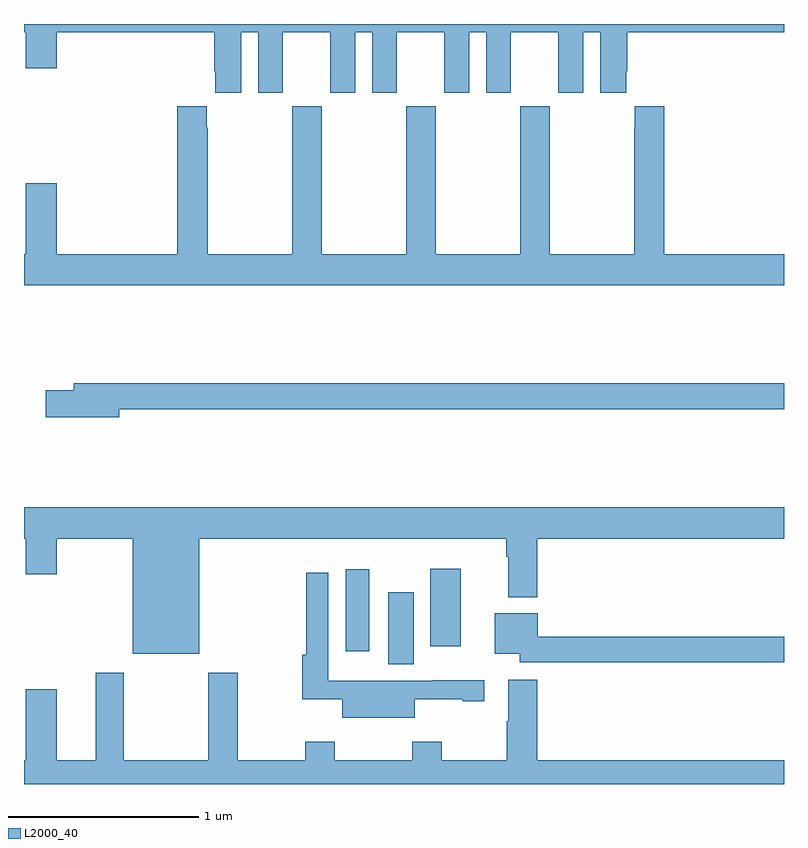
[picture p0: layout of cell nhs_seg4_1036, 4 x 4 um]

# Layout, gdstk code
import gdstk
lib = gdstk.Library(unit=1e-6, precision=1e-09)
def R(c, l, rs):  # rectangles x0, y0, x1, y1
    for r in rs: c.add(gdstk.rectangle(r[:2], r[2:], *l))
def P(c, l, *ps):  # polygons
    for p in ps: c.add(gdstk.Polygon(p, *l))
L2000_40 = (2000, 40)

nhs_seg4_1036 = lib.new_cell('nhs_seg4_1036')
R(nhs_seg4_1036, L2000_40, [(166.916,757.529,167.05,757.909), (166.694,757.599,166.816,758.029), (167.138,757.626,167.299,758.032)])
P(nhs_seg4_1036, L2000_40, [(165,760.856),(165.008,760.856),(165.008,760.668),(165.172,760.668),(165.172,760.856),(166.001,760.856),(166.001,760.651),(166.007,760.651),(166.007,760.539),(166.144,760.539),(166.144,760.856),(166.232,760.856),(166.232,760.539),(166.363,760.539),(166.363,760.856),(166.613,760.856),(166.613,760.539),(166.744,760.539),(166.744,760.856),(166.832,760.856),(166.832,760.539),(166.963,760.539),(166.963,760.856),(167.213,760.856),(167.213,760.539),(167.344,760.539),(167.344,760.856),(167.432,760.856),(167.432,760.539),(167.563,760.539),(167.563,760.856),(167.813,760.856),(167.813,760.539),(167.944,760.539),(167.944,760.856),(168.032,760.856),(168.032,760.539),(168.169,760.539),(168.169,760.651),(168.176,760.651),(168.176,760.856),(169,760.856),(169,760.9),(165,760.9)],
  [(169,759.688),(168.371,759.688),(168.371,760.468),(168.215,760.468),(168.215,760.355),(168.211,760.355),(168.211,759.688),(167.766,759.688),(167.766,760.468),(167.611,760.468),(167.611,759.688),(167.166,759.688),(167.166,760.468),(167.011,760.468),(167.011,759.688),(166.566,759.688),(166.566,760.468),(166.411,760.468),(166.411,759.688),(165.966,759.688),(165.966,760.355),(165.961,760.355),(165.961,760.468),(165.806,760.468),(165.806,759.688),(165.172,759.688),(165.172,760.063),(165.008,760.063),(165.008,759.688),(165,759.688),(165,759.524),(169,759.524)],
  [(165.502,758.872),(169,758.872),(169,759.008),(165.263,759.008),(165.263,758.972),(165.114,758.972),(165.114,758.83),(165.502,758.83)],
  [(165.922,758.192),(167.537,758.192),(167.537,758.096),(167.549,758.096),(167.549,757.883),(167.702,757.883),(167.702,758.192),(169,758.192),(169,758.356),(165,758.356),(165,758.192),(165.008,758.192),(165.008,758.004),(165.172,758.004),(165.172,758.192),(165.572,758.192),(165.572,757.586),(165.922,757.586)],
  [(167.056,757.345),(167.309,757.345),(167.309,757.335),(167.422,757.335),(167.422,757.445),(167.152,757.445),(167.152,757.443),(166.92,757.443),(166.92,757.444),(166.602,757.444),(166.602,758.011),(166.486,758.011),(166.486,757.579),(166.465,757.579),(166.465,757.345),(166.676,757.345),(166.676,757.25),(167.056,757.25)],
  [(169,757.676),(167.704,757.676),(167.704,757.798),(167.477,757.798),(167.477,757.586),(167.61,757.586),(167.61,757.54),(169,757.54)],
  [(169,757.024),(167.702,757.024),(167.702,757.45),(167.549,757.45),(167.549,757.229),(167.542,757.229),(167.542,757.024),(167.199,757.024),(167.199,757.123),(167.044,757.123),(167.044,757.024),(166.635,757.024),(166.635,757.123),(166.48,757.123),(166.48,757.024),(166.125,757.024),(166.125,757.486),(165.97,757.486),(165.97,757.024),(165.525,757.024),(165.525,757.486),(165.377,757.486),(165.377,757.024),(165.172,757.024),(165.172,757.399),(165.008,757.399),(165.008,757.024),(165,757.024),(165,756.9),(169,756.9)])

lib.write_gds('nhs_seg4_1036.gds')
